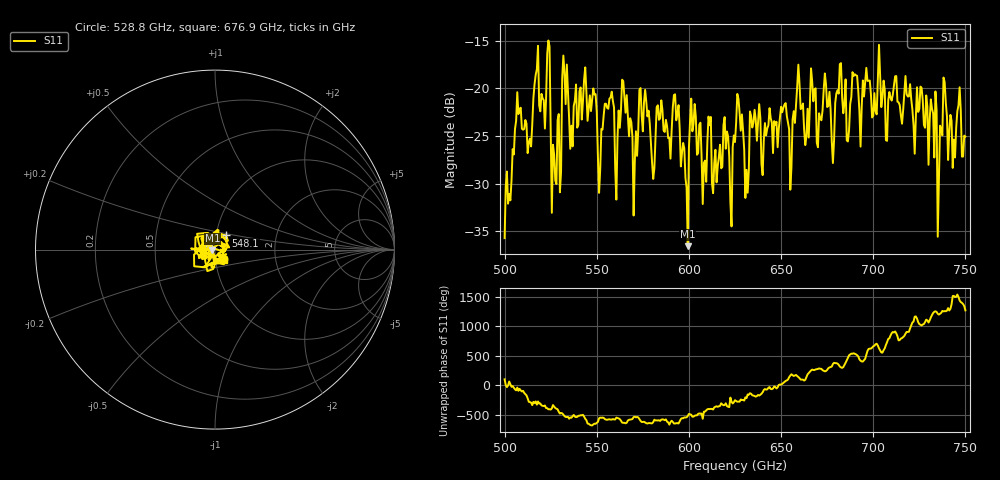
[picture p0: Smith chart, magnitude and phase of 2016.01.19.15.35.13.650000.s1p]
!Created with skrf (http://scikit-rf.org).
# GHz S RI R 50.0
!freq ReS11 ImS11
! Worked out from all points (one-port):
!   401 points, 500 GHz to 750 GHz, reference 50 ohm
!   lowest |S11| = -36.6 dB at 599.4 GHz (marker M1), VSWR 1.03, Z = 48.6 - j0.38 ohm
!   |S11| at or under -10 dB: start of sweep to end of sweep
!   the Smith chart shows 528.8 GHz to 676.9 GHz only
!   S11 on the Smith chart (normalised r, x): 528.8 GHz: 1.08, -0.11; 548.1 GHz: 1.12, +0.18; 676.9 GHz: 1.09, -0.13
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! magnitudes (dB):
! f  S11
! 500 GHz  -35.7
! 506.9 GHz  -20.4
! 513.8 GHz  -25.3
! 516.9 GHz  -18.6
! 523.8 GHz  -15.0
! 526.2 GHz  -25.9
! 528.8 GHz  -23.3
! 531.2 GHz  -18.9
! 548.1 GHz  -20.0
! 551.9 GHz  -28.5
! 562.5 GHz  -24.1
! 570.6 GHz  -27.7
! 574.4 GHz  -22.9
! 580.6 GHz  -29.5
! 593.8 GHz  -22.7
! 599.4 GHz  -36.6
! 601.9 GHz  -24.5
! 608.1 GHz  -27.8
! 625 GHz  -25.6
! 631.2 GHz  -28.5
! 634.4 GHz  -24.1
! 656.2 GHz  -23.3
! 659.4 GHz  -17.5
! 676.9 GHz  -22.3
! 687.5 GHz  -21.6
! 718.8 GHz  -20.9
! 736.2 GHz  -23.9
! 750 GHz  -25.1
